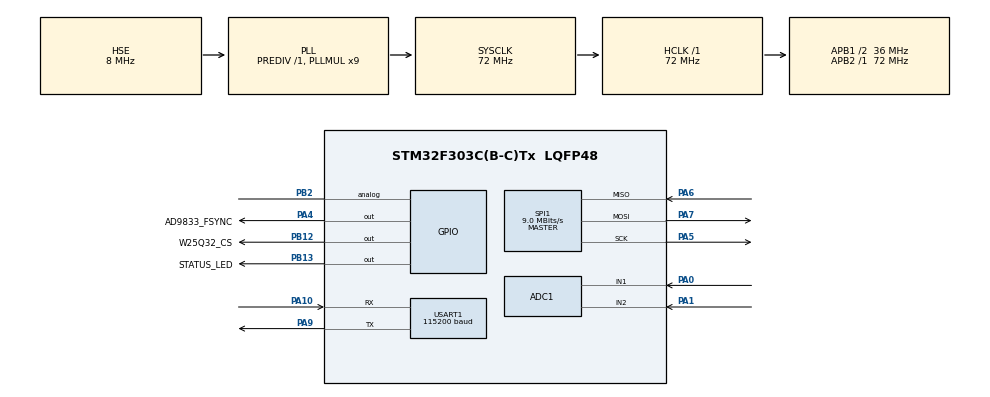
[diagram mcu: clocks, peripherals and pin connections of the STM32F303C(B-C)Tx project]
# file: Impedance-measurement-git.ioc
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ADC1.Channel-0\#ChannelRegularConversion=ADC_CHANNEL_1
ADC1.Channel-1\#ChannelRegularConversion=ADC_CHANNEL_2
ADC1.ClockPrescaler=ADC_CLOCK_ASYNC_DIV1
ADC1.ContinuousConvMode=ENABLE
ADC1.DMAContinuousRequests=ENABLE
ADC1.EOCSelection=ADC_EOC_SEQ_CONV
ADC1.NbrOfConversion=2
ADC1.NbrOfConversionFlag=1
ADC1.Offset-0\#ChannelRegularConversion=0
ADC1.Offset-1\#ChannelRegularConversion=0
ADC1.OffsetNumber-0\#ChannelRegularConversion=ADC_OFFSET_NONE
ADC1.OffsetNumber-1\#ChannelRegularConversion=ADC_OFFSET_NONE
ADC1.Rank-0\#ChannelRegularConversion=1
ADC1.Rank-1\#ChannelRegularConversion=2
ADC1.SamplingTime-0\#ChannelRegularConversion=ADC_SAMPLETIME_61CYCLES_5
ADC1.SamplingTime-1\#ChannelRegularConversion=ADC_SAMPLETIME_61CYCLES_5
ADC1.SamplingTimeOPAMP-1\#ChannelRegularConversion=ADC_SAMPLETIME_4CYCLES_5
ADC1.master=1
Dma.ADC1.0.Direction=DMA_PERIPH_TO_MEMORY
Dma.ADC1.0.Instance=DMA1_Channel1
Dma.ADC1.0.MemDataAlignment=DMA_MDATAALIGN_HALFWORD
Dma.ADC1.0.MemInc=DMA_MINC_ENABLE
Dma.ADC1.0.Mode=DMA_CIRCULAR
Dma.ADC1.0.PeriphDataAlignment=DMA_PDATAALIGN_HALFWORD
Dma.ADC1.0.PeriphInc=DMA_PINC_DISABLE
Dma.ADC1.0.Priority=DMA_PRIORITY_HIGH
Dma.Request0=ADC1
Mcu.Family=STM32F3
Mcu.Name=STM32F303C(B-C)Tx
Mcu.Package=LQFP48
NVIC.DMA1_Channel1_IRQn=true\:0\:0\:false\:false\:true\:false\:true\:true
NVIC.PriorityGroup=NVIC_PRIORITYGROUP_4
PA0.Mode=IN1-Single-Ended
PA0.Signal=ADC1_IN1
PA1.Mode=IN2-Single-Ended
PA1.Signal=ADC1_IN2
PA10.Mode=Asynchronous
PA10.Signal=USART1_RX
PA13.Mode=Trace_Asynchronous_SW
PA13.Signal=SYS_JTMS-SWDIO
PA14.Mode=Trace_Asynchronous_SW
PA14.Signal=SYS_JTCK-SWCLK
PA4.GPIO_Label=AD9833_FSYNC
PA4.GPIO_Speed=GPIO_SPEED_FREQ_HIGH
PA4.PinState=GPIO_PIN_SET
PA4.Signal=GPIO_Output
PA5.Mode=Full_Duplex_Master
PA5.Signal=SPI1_SCK
PA6.Mode=Full_Duplex_Master
PA6.Signal=SPI1_MISO
PA7.Mode=Full_Duplex_Master
PA7.Signal=SPI1_MOSI
PA9.Mode=Asynchronous
PA9.Signal=USART1_TX
PB12.GPIO_Label=W25Q32_CS
PB12.GPIO_Speed=GPIO_SPEED_FREQ_HIGH
PB12.PinState=GPIO_PIN_SET
PB12.Signal=GPIO_Output
PB13.GPIO_Label=STATUS_LED
PB13.Signal=GPIO_Output
PB2.Signal=GPIO_Analog
PB3.Mode=Trace_Asynchronous_SW
PB3.Signal=SYS_JTDO-TRACESWO
PF0-OSC_IN.Mode=HSE-External-Oscillator
PF0-OSC_IN.Signal=RCC_OSC_IN
PF1-OSC_OUT.Mode=HSE-External-Oscillator
PF1-OSC_OUT.Signal=RCC_OSC_OUT
ProjectManager.HeapSize=0x200
ProjectManager.StackSize=0x400
ProjectManager.TargetToolchain=STM32CubeIDE
RCC.AHBFreq_Value=72000000
RCC.APB1CLKDivider=RCC_HCLK_DIV2
RCC.APB1Freq_Value=36000000
RCC.APB1TimFreq_Value=72000000
RCC.APB2Freq_Value=72000000
RCC.APB2TimFreq_Value=72000000
RCC.CortexFreq_Value=72000000
RCC.HCLKFreq_Value=72000000
RCC.HSE_VALUE=8000000
RCC.HSI_VALUE=8000000
RCC.LSE_VALUE=32768
RCC.PLLMUL=RCC_PLL_MUL9
RCC.PLLSourceVirtual=RCC_PLLSOURCE_HSE
RCC.SYSCLKFreq_VALUE=72000000
RCC.SYSCLKSourceVirtual=RCC_SYSCLKSOURCE_PLLCLK
RCC.USBFreq_Value=72000000
SPI1.BaudRatePrescaler=SPI_BAUDRATEPRESCALER_8
SPI1.CalculateBaudRate=9.0 MBits/s
SPI1.DataSize=SPI_DATASIZE_8BIT
SPI1.Direction=SPI_DIRECTION_2LINES
SPI1.Mode=SPI_MODE_MASTER
SPI1.NSSPMode=SPI_NSS_PULSE_DISABLE
SPI1.VirtualType=VM_MASTER
USART1.BaudRate=115200
USART1.VirtualMode-Asynchronous=VM_ASYNC
board=custom

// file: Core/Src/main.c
/* USER CODE BEGIN Header */
/**
  ******************************************************************************
  * @file           : main.c
  * @brief          : Main program body
  ******************************************************************************
  */
/* USER CODE END Header */
#include "main.h"

/* USER CODE BEGIN Includes */
#include "ad9833.h"
#include "impedance.h"
#include "w25q32.h"
#include "flash_log.h"
#include <stdio.h>
#include "uart_comm.h"
/* USER CODE END Includes */

ADC_HandleTypeDef hadc1;
DMA_HandleTypeDef hdma_adc1;

SPI_HandleTypeDef hspi1;

UART_HandleTypeDef huart1;

/* USER CODE BEGIN PV */

uint8_t tx_buffer[64];

uint8_t rx_buffer[64];

uint32_t flash_id;

volatile uint8_t measurement_running = 0;

static uint32_t sweep_start_frequency = SWEEP_START_FREQUENCY;
static uint32_t sweep_stop_frequency = SWEEP_STOP_FREQUENCY;
static uint32_t sweep_step_frequency = SWEEP_STEP_FREQUENCY;
static float feedback_resistor = 1000.0f;  /* PCB5 R5 — reported in STATUS only */

/* USER CODE END PV */

void SystemClock_Config(void);
static void MX_GPIO_Init(void);
static void MX_DMA_Init(void);
static void MX_ADC1_Init(void);
static void MX_SPI1_Init(void);
static void MX_USART1_UART_Init(void);

/* USER CODE BEGIN 0 */

static void Send_Status(void)
{
    uint32_t rf_x100 = (uint32_t)((feedback_resistor * 100.0f) + 0.5f);

    printf("STATUS,%s,START=%lu,STOP=%lu,STEP=%lu,RF=%lu.%02lu,CF_NF=3.30,FLASH_COUNT=%lu\r\n",
           measurement_running ? "RUNNING" : "IDLE",
           sweep_start_frequency,
           sweep_stop_frequency,
           sweep_step_frequency,
           rf_x100 / 100U,
           rf_x100 % 100U,
           FlashLog_GetRecordCount());
}

static int32_t Scale_Float_X100(float value)
{
    if(value >= 0.0f)
    {
        return (int32_t)((value * 100.0f) + 0.5f);
    }

    return (int32_t)((value * 100.0f) - 0.5f);
}

static void Send_Flash_Record(const FlashLogRecord *record)
{
    uint32_t magnitude_x100 = (uint32_t)((record->magnitude * 100.0f) + 0.5f);
    int32_t phase_x100 = Scale_Float_X100(record->phase_deg);
    int32_t real_x100 = Scale_Float_X100(record->real);
    int32_t imag_x100 = Scale_Float_X100(record->imag);

    printf("FLASH_DATA,%lu,%lu,%ld,%ld,%ld\r\n",
           (unsigned long)record->freq_hz,
           (unsigned long)magnitude_x100,
           (long)phase_x100,
           (long)real_x100,
           (long)imag_x100);
}

static uint8_t Sweep_Config_IsValid(void)
{
    return (sweep_start_frequency > 0U) &&
           (sweep_stop_frequency >= sweep_start_frequency) &&
           (sweep_step_frequency > 0U) &&
           (feedback_resistor > 0.0f);
}

static void Delay_With_Command_Processing(uint32_t delay_ms)
{
    uint32_t elapsed = 0U;

    while(elapsed < delay_ms)
    {
        UART_ProcessCommand();

        if(!measurement_running)
        {
            break;
        }

        HAL_Delay(10);
        elapsed += 10U;
    }
}

int __io_putchar(int ch)
{
    HAL_UART_Transmit(&huart1,
                      (uint8_t *)&ch,
                      1,
                      HAL_MAX_DELAY);

    return ch;
}

void Process_Start_Command(void)
{
    if(measurement_running)
    {
        UART_SendString("ERROR,BUSY\r\n");
        return;
    }
    if(!Sweep_Config_IsValid())
    {
        UART_SendString("ERROR,BAD_CONFIG\r\n");
        return;
    }

    if(FlashLog_BeginSweep() != FLASH_LOG_OK)
    {
        UART_SendString("ERROR,FLASH_ERASE\r\n");
        return;
    }

    measurement_running = 1;
    UART_SendString("OK START\r\n");
}

void Process_Stop_Command(void)
{
    measurement_running = 0;
    UART_SendString("OK STOP\r\n");
}

void Process_Status_Command(void)
{
    Send_Status();
}

void Process_FlashStatus_Command(void)
{
    printf("FLASH_STATUS,COUNT=%lu,CAPACITY=%lu\r\n",
           (unsigned long)FlashLog_GetRecordCount(),
           (unsigned long)FlashLog_GetCapacity());
}

void Process_EraseFlash_Command(void)
{
    if(measurement_running)
    {
        UART_SendString("ERROR,BUSY\r\n");
        return;
    }

    if(FlashLog_Erase() == FLASH_LOG_OK)
    {
        UART_SendString("OK ERASE_FLASH\r\n");
    }
    else
    {
        UART_SendString("ERROR,FLASH_ERASE\r\n");
    }
}

void Process_DumpFlash_Command(void)
{
    uint32_t count = FlashLog_GetRecordCount();

    if(measurement_running)
    {
        UART_SendString("ERROR,BUSY\r\n");
        return;
    }

    printf("FLASH_DUMP,BEGIN,COUNT=%lu\r\n",
           (unsigned long)count);
    UART_SendString("FLASH_DUMP,FORMAT,FREQ_HZ,MAG_X100,PHASE_X100,REAL_X100,IMAG_X100\r\n");

    for(uint32_t i = 0; i < count; i++)
    {
        FlashLogRecord record;

        if(FlashLog_ReadRecord(i, &record) == FLASH_LOG_OK)
        {
            Send_Flash_Record(&record);
        }
        else
        {
            printf("FLASH_DUMP,ERROR,INDEX=%lu\r\n",
                   (unsigned long)i);
            break;
        }
    }

    UART_SendString("FLASH_DUMP,END\r\n");
}

void Process_SetStartFrequency(uint32_t value)
{
    if(measurement_running || value == 0U || value > sweep_stop_frequency || value > (AD9833_MCLK / 2UL))
    {
        UART_SendString("ERROR,BAD_VALUE\r\n");
        return;
    }

    sweep_start_frequency = value;
    UART_SendString("OK SET_START_FREQ\r\n");
}

void Process_SetStopFrequency(uint32_t value)
{
    if(measurement_running || value < sweep_start_frequency || value > (AD9833_MCLK / 2UL))
    {
        UART_SendString("ERROR,BAD_VALUE\r\n");
        return;
    }

    sweep_stop_frequency = value;
    UART_SendString("OK SET_STOP_FREQ\r\n");
}

void Process_SetStepFrequency(uint32_t value)
{
    if(measurement_running || value == 0U)
    {
        UART_SendString("ERROR,BAD_VALUE\r\n");
        return;
    }

    sweep_step_frequency = value;
    UART_SendString("OK SET_STEP_FREQ\r\n");
}

void Process_SetFeedbackResistor(float value)
{
    (void)value;
    UART_SendString("ERROR,FIXED_TIA,RF=1000.00,CF_NF=3.30\r\n");
}

void Process_SetSweepConfig(uint32_t start, uint32_t stop, uint32_t step)
{
    if(measurement_running)
    {
        UART_SendString("ERROR,BUSY\r\n");
        return;
    }
    if(start == 0U || step == 0U || stop < start || stop > (AD9833_MCLK / 2UL))
    {
        UART_SendString("ERROR,BAD_VALUE\r\n");
        return;
    }
    sweep_start_frequency = start;
    sweep_stop_frequency  = stop;
    sweep_step_frequency  = step;
    UART_SendString("OK SET_SWEEP\r\n");
}

/* USER CODE END 0 */

int main(void)
{

  /* MCU Configuration--------------------------------------------------------*/

  /* Reset of all peripherals, Initializes the Flash interface and the Systick. */
  HAL_Init();

  /* Configure the system clock */
  SystemClock_Config();

  /* Initialize all configured peripherals */
  MX_GPIO_Init();
  MX_DMA_Init();
  MX_ADC1_Init();
  MX_SPI1_Init();
  MX_USART1_UART_Init();
  /* USER CODE BEGIN 2 */

  UART_Comm_Init(&huart1);

  printf("BOOT,STM32F303CCT6_EIS\r\n");

  /* =========================================
     ADC CALIBRATION
     ========================================= */

  /* =========================================
     IMPEDANCE MODULE INIT
     ========================================= */

  Imp_Init();

  /* =========================================
     SPI FLASH INIT
     ========================================= */

  W25Q32_Init(&hspi1);

  flash_id = W25Q32_ReadID();

  if(flash_id != W25Q32_JEDEC_ID)
  {
      printf("BOOT,WARNING,FLASH_ID_MISMATCH,EXPECTED=0x%06lX,GOT=0x%06lX\r\n",
             (unsigned long)W25Q32_JEDEC_ID,
             (unsigned long)(flash_id & 0x00FFFFFFUL));
  }

  printf("FLASH,ID,0x%08lX\r\n",
         flash_id);

  FlashLog_Init();

  /* =========================================
     AD9833 INIT
     ========================================= */

  AD9833_Init();

  AD9833_SetWaveform(AD9833_SINE);

  AD9833_SetFrequency(sweep_start_frequency);

  printf("READY\r\n");
  Send_Status();

  /* USER CODE END 2 */

  /* Infinite loop */
  while (1)
  {

    /* USER CODE BEGIN 3 */
    UART_ProcessCommand();

    if(measurement_running)
    {
        BodePoint result;

        UART_SendString("SWEEP,BEGIN\r\n");

        uint32_t freq = sweep_start_frequency;
        while(1)
        {
            UART_ProcessCommand();

            if(!measurement_running)
            {
                break;
            }

            AD9833_SetFrequency(freq);

            Delay_With_Command_Processing(20);

            if(!measurement_running)
            {
                break;
            }

            result = Imp_MeasureAtFrequency(freq);

            UART_SendImpedanceData(freq,
                                   result.magnitude,
                                   result.phaseDeg,
                                   result.realPart,
                                   result.imagPart);

            FlashLogStatus flash_status =
                    FlashLog_WritePoint(freq, &result);

            if(flash_status == FLASH_LOG_FULL)
            {
                UART_SendString("ERROR,FLASH_FULL\r\n");
            }
            else if(flash_status != FLASH_LOG_OK)
            {
                UART_SendString("ERROR,FLASH_WRITE\r\n");
            }

            if(freq >= sweep_stop_frequency)
            {
                break;
            }

            /* Overflow-safe increment: clamp to stop if next step overshoots.
               (freq < sweep_stop_frequency here, so this subtraction cannot
               underflow, unlike computing sweep_stop_frequency - sweep_step_frequency
               directly when step > span.) */
            if(sweep_step_frequency >= (sweep_stop_frequency - freq))
            {
                freq = sweep_stop_frequency;
            }
            else
            {
                freq += sweep_step_frequency;
            }

            Delay_With_Command_Processing(SWEEP_DELAY_MS);
        }

        measurement_running = 0;
        UART_SendString("SWEEP,DONE\r\n");
        Send_Status();
    }
  }
  /* USER CODE END 3 */
}

void SystemClock_Config(void)
{
  RCC_OscInitTypeDef RCC_OscInitStruct = {0};
  RCC_ClkInitTypeDef RCC_ClkInitStruct = {0};
  RCC_PeriphCLKInitTypeDef PeriphClkInit = {0};

  /** Initializes the RCC Oscillators according to the specified parameters
  * in the RCC_OscInitTypeDef structure.
  */
  RCC_OscInitStruct.OscillatorType = RCC_OSCILLATORTYPE_HSE;
  RCC_OscInitStruct.HSEState = RCC_HSE_ON;
  RCC_OscInitStruct.HSEPredivValue = RCC_HSE_PREDIV_DIV1;
  RCC_OscInitStruct.HSIState = RCC_HSI_ON;
  RCC_OscInitStruct.PLL.PLLState = RCC_PLL_ON;
  RCC_OscInitStruct.PLL.PLLSource = RCC_PLLSOURCE_HSE;
  RCC_OscInitStruct.PLL.PLLMUL = RCC_PLL_MUL9;
  if (HAL_RCC_OscConfig(&RCC_OscInitStruct) != HAL_OK)
  {
    Error_Handler();
  }

  /** Initializes the CPU, AHB and APB buses clocks
  */
  RCC_ClkInitStruct.ClockType = RCC_CLOCKTYPE_HCLK|RCC_CLOCKTYPE_SYSCLK
                              |RCC_CLOCKTYPE_PCLK1|RCC_CLOCKTYPE_PCLK2;
  RCC_ClkInitStruct.SYSCLKSource = RCC_SYSCLKSOURCE_PLLCLK;
  RCC_ClkInitStruct.AHBCLKDivider = RCC_SYSCLK_DIV1;
  RCC_ClkInitStruct.APB1CLKDivider = RCC_HCLK_DIV2;
  RCC_ClkInitStruct.APB2CLKDivider = RCC_HCLK_DIV1;

  if (HAL_RCC_ClockConfig(&RCC_ClkInitStruct, FLASH_LATENCY_2) != HAL_OK)
  {
    Error_Handler();
  }
  PeriphClkInit.PeriphClockSelection = RCC_PERIPHCLK_USART1|RCC_PERIPHCLK_ADC12;
  PeriphClkInit.Usart1ClockSelection = RCC_USART1CLKSOURCE_PCLK2;
  PeriphClkInit.Adc12ClockSelection = RCC_ADC12PLLCLK_DIV1;
  if (HAL_RCCEx_PeriphCLKConfig(&PeriphClkInit) != HAL_OK)
  {
    Error_Handler();
  }
}

static void MX_ADC1_Init(void)
{

  ADC_MultiModeTypeDef multimode = {0};
  ADC_ChannelConfTypeDef sConfig = {0};

  /** Common config
  */
  hadc1.Instance = ADC1;
  hadc1.Init.ClockPrescaler = ADC_CLOCK_ASYNC_DIV1;
  hadc1.Init.Resolution = ADC_RESOLUTION_12B;
  hadc1.Init.ScanConvMode = ADC_SCAN_ENABLE;
  hadc1.Init.ContinuousConvMode = ENABLE;
  hadc1.Init.DiscontinuousConvMode = DISABLE;
  hadc1.Init.ExternalTrigConvEdge = ADC_EXTERNALTRIGCONVEDGE_NONE;
  hadc1.Init.ExternalTrigConv = ADC_SOFTWARE_START;
  hadc1.Init.DataAlign = ADC_DATAALIGN_RIGHT;
  hadc1.Init.NbrOfConversion = 2;
  hadc1.Init.DMAContinuousRequests = DISABLE;
  hadc1.Init.EOCSelection = ADC_EOC_SEQ_CONV;
  hadc1.Init.LowPowerAutoWait = DISABLE;
  hadc1.Init.Overrun = ADC_OVR_DATA_OVERWRITTEN;
  if (HAL_ADC_Init(&hadc1) != HAL_OK)
  {
    Error_Handler();
  }

  /** Configure the ADC multi-mode
  */
  multimode.Mode = ADC_MODE_INDEPENDENT;
  if (HAL_ADCEx_MultiModeConfigChannel(&hadc1, &multimode) != HAL_OK)
  {
    Error_Handler();
  }

  /** Configure Regular Channel
  */
  sConfig.Channel = ADC_CHANNEL_1;
  sConfig.Rank = ADC_REGULAR_RANK_1;
  sConfig.SingleDiff = ADC_SINGLE_ENDED;
  sConfig.SamplingTime = ADC_SAMPLETIME_61CYCLES_5;
  sConfig.OffsetNumber = ADC_OFFSET_NONE;
  sConfig.Offset = 0;
  if (HAL_ADC_ConfigChannel(&hadc1, &sConfig) != HAL_OK)
  {
    Error_Handler();
  }

  /** Configure Regular Channel
  */
  sConfig.Channel = ADC_CHANNEL_2;
  sConfig.Rank = ADC_REGULAR_RANK_2;
  if (HAL_ADC_ConfigChannel(&hadc1, &sConfig) != HAL_OK)
  {
    Error_Handler();
  }

}

static void MX_SPI1_Init(void)
{

  /* SPI1 parameter configuration*/
  hspi1.Instance = SPI1;
  hspi1.Init.Mode = SPI_MODE_MASTER;
  hspi1.Init.Direction = SPI_DIRECTION_2LINES;
  hspi1.Init.DataSize = SPI_DATASIZE_8BIT;
  hspi1.Init.CLKPolarity = SPI_POLARITY_LOW;
  hspi1.Init.CLKPhase = SPI_PHASE_1EDGE;
  hspi1.Init.NSS = SPI_NSS_SOFT;
  hspi1.Init.BaudRatePrescaler = SPI_BAUDRATEPRESCALER_8;
  hspi1.Init.FirstBit = SPI_FIRSTBIT_MSB;
  hspi1.Init.TIMode = SPI_TIMODE_DISABLE;
  hspi1.Init.CRCCalculation = SPI_CRCCALCULATION_DISABLE;
  hspi1.Init.CRCPolynomial = 7;
  hspi1.Init.CRCLength = SPI_CRC_LENGTH_DATASIZE;
  hspi1.Init.NSSPMode = SPI_NSS_PULSE_DISABLE;
  if (HAL_SPI_Init(&hspi1) != HAL_OK)
  {
    Error_Handler();
  }

}

static void MX_USART1_UART_Init(void)
{

  huart1.Instance = USART1;
  huart1.Init.BaudRate = 115200;
  huart1.Init.WordLength = UART_WORDLENGTH_8B;
  huart1.Init.StopBits = UART_STOPBITS_1;
  huart1.Init.Parity = UART_PARITY_NONE;
  huart1.Init.Mode = UART_MODE_TX_RX;
  huart1.Init.HwFlowCtl = UART_HWCONTROL_NONE;
  huart1.Init.OverSampling = UART_OVERSAMPLING_16;
  huart1.Init.OneBitSampling = UART_ONE_BIT_SAMPLE_DISABLE;
  huart1.AdvancedInit.AdvFeatureInit = UART_ADVFEATURE_NO_INIT;
  if (HAL_UART_Init(&huart1) != HAL_OK)
  {
    Error_Handler();
  }

}

static void MX_DMA_Init(void)
{

  /* DMA controller clock enable */
  __HAL_RCC_DMA1_CLK_ENABLE();

  /* DMA interrupt init */
  /* DMA1_Channel1_IRQn interrupt configuration */
  HAL_NVIC_SetPriority(DMA1_Channel1_IRQn, 0, 0);
  HAL_NVIC_EnableIRQ(DMA1_Channel1_IRQn);

}

static void MX_GPIO_Init(void)
{
  GPIO_InitTypeDef GPIO_InitStruct = {0};

  /* GPIO Ports Clock Enable */
  __HAL_RCC_GPIOF_CLK_ENABLE();
  __HAL_RCC_GPIOA_CLK_ENABLE();
  __HAL_RCC_GPIOB_CLK_ENABLE();

  /*Configure GPIO pin Output Level */
  HAL_GPIO_WritePin(AD9833_FSYNC_GPIO_Port, AD9833_FSYNC_Pin, GPIO_PIN_SET);

  /*Configure GPIO pin Output Level */
  HAL_GPIO_WritePin(W25Q32_CS_GPIO_Port, W25Q32_CS_Pin, GPIO_PIN_SET);

  /*Configure GPIO pin : AD9833_FSYNC_Pin */
  GPIO_InitStruct.Pin = AD9833_FSYNC_Pin;
  GPIO_InitStruct.Mode = GPIO_MODE_OUTPUT_PP;
  GPIO_InitStruct.Pull = GPIO_NOPULL;
  GPIO_InitStruct.Speed = GPIO_SPEED_FREQ_HIGH;
  HAL_GPIO_Init(AD9833_FSYNC_GPIO_Port, &GPIO_InitStruct);

  /*Configure GPIO pin : PB2 */
  GPIO_InitStruct.Pin = GPIO_PIN_2;
  GPIO_InitStruct.Mode = GPIO_MODE_ANALOG;
  GPIO_InitStruct.Pull = GPIO_NOPULL;
  HAL_GPIO_Init(GPIOB, &GPIO_InitStruct);

  /*Configure GPIO pin : W25Q32_CS_Pin */
  GPIO_InitStruct.Pin = W25Q32_CS_Pin;
  GPIO_InitStruct.Mode = GPIO_MODE_OUTPUT_PP;
  GPIO_InitStruct.Pull = GPIO_NOPULL;
  GPIO_InitStruct.Speed = GPIO_SPEED_FREQ_HIGH;
  HAL_GPIO_Init(W25Q32_CS_GPIO_Port, &GPIO_InitStruct);

}

void Error_Handler(void)
{
  __disable_irq();
  while (1)
  {
  }
}
